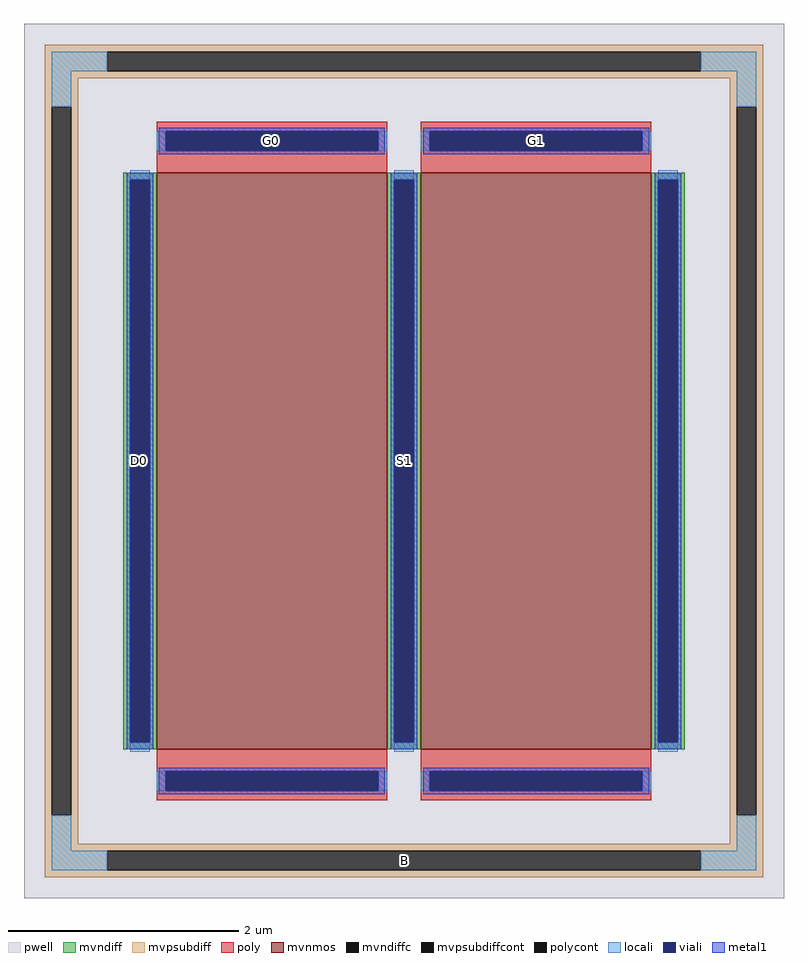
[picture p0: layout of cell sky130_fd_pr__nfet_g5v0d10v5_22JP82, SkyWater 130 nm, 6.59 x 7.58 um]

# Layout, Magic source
magic
tech sky130A
magscale 1 2
<< pwell >>
rect -659 -758 659 758
<< mvnmos >>
rect -429 -500 -29 500
rect 29 -500 429 500
<< mvndiff >>
rect -487 488 -429 500
rect -487 -488 -475 488
rect -441 -488 -429 488
rect -487 -500 -429 -488
rect -29 488 29 500
rect -29 -488 -17 488
rect 17 -488 29 488
rect -29 -500 29 -488
rect 429 488 487 500
rect 429 -488 441 488
rect 475 -488 487 488
rect 429 -500 487 -488
<< mvndiffc >>
rect -475 -488 -441 488
rect -17 -488 17 488
rect 441 -488 475 488
<< mvpsubdiff >>
rect -623 710 623 722
rect -623 676 -515 710
rect 515 676 623 710
rect -623 664 623 676
rect -623 614 -565 664
rect -623 -614 -611 614
rect -577 -614 -565 614
rect 565 614 623 664
rect -623 -664 -565 -614
rect 565 -614 577 614
rect 611 -614 623 614
rect 565 -664 623 -614
rect -623 -676 623 -664
rect -623 -710 -515 -676
rect 515 -710 623 -676
rect -623 -722 623 -710
<< mvpsubdiffcont >>
rect -515 676 515 710
rect -611 -614 -577 614
rect 577 -614 611 614
rect -515 -710 515 -676
<< poly >>
rect -429 572 -29 588
rect -429 538 -413 572
rect -45 538 -29 572
rect -429 500 -29 538
rect 29 572 429 588
rect 29 538 45 572
rect 413 538 429 572
rect 29 500 429 538
rect -429 -538 -29 -500
rect -429 -572 -413 -538
rect -45 -572 -29 -538
rect -429 -588 -29 -572
rect 29 -538 429 -500
rect 29 -572 45 -538
rect 413 -572 429 -538
rect 29 -588 429 -572
<< polycont >>
rect -413 538 -45 572
rect 45 538 413 572
rect -413 -572 -45 -538
rect 45 -572 413 -538
<< locali >>
rect -611 676 -515 710
rect 515 676 611 710
rect -611 614 -577 676
rect 577 614 611 676
rect -429 538 -413 572
rect -45 538 -29 572
rect 29 538 45 572
rect 413 538 429 572
rect -475 488 -441 504
rect -475 -504 -441 -488
rect -17 488 17 504
rect -17 -504 17 -488
rect 441 488 475 504
rect 441 -504 475 -488
rect -429 -572 -413 -538
rect -45 -572 -29 -538
rect 29 -572 45 -538
rect 413 -572 429 -538
rect -611 -676 -577 -614
rect 577 -676 611 -614
rect -611 -710 -515 -676
rect 515 -710 611 -676
<< viali >>
rect -413 538 -45 572
rect 45 538 413 572
rect -475 -488 -441 488
rect -17 -488 17 488
rect 441 -488 475 488
rect -413 -572 -45 -538
rect 45 -572 413 -538
<< metal1 >>
rect -425 572 -33 578
rect -425 538 -413 572
rect -45 538 -33 572
rect -425 532 -33 538
rect 33 572 425 578
rect 33 538 45 572
rect 413 538 425 572
rect 33 532 425 538
rect -481 488 -435 500
rect -481 -488 -475 488
rect -441 -488 -435 488
rect -481 -500 -435 -488
rect -23 488 23 500
rect -23 -488 -17 488
rect 17 -488 23 488
rect -23 -500 23 -488
rect 435 488 481 500
rect 435 -488 441 488
rect 475 -488 481 488
rect 435 -500 481 -488
rect -425 -538 -33 -532
rect -425 -572 -413 -538
rect -45 -572 -33 -538
rect -425 -578 -33 -572
rect 33 -538 425 -532
rect 33 -572 45 -538
rect 413 -572 425 -538
rect 33 -578 425 -572
<< labels >>
rlabel mvpsubdiffcont 0 -693 0 -693 0 B
port 1 nsew
rlabel mvndiffc -458 0 -458 0 0 D0
port 2 nsew
rlabel polycont -229 555 -229 555 0 G0
port 3 nsew
rlabel mvndiffc 0 0 0 0 0 S1
port 4 nsew
rlabel polycont 229 555 229 555 0 G1
port 5 nsew
<< properties >>
string FIXED_BBOX -594 -693 594 693
string gencell sky130_fd_pr__nfet_g5v0d10v5
string library sky130
string parameters w 5 l 2 m 1 nf 2 diffcov 100 polycov 100 guard 1 glc 1 grc 1 gtc 1 gbc 1 tbcov 100 rlcov 100 topc 1 botc 1 poverlap 0 doverlap 1 lmin 0.50 wmin 0.42 class mosfet compatible {sky130_fd_pr__nfet_01v8 sky130_fd_pr__nfet_01v8_lvt  sky130_fd_bs_flash__special_sonosfet_star  sky130_fd_pr__nfet_g5v0d10v5 sky130_fd_pr__nfet_05v0_nvt  sky130_fd_pr__nfet_03v3_nvt} full_metal 1 conn_gates 0 viasrc 100 viadrn 100 viagate 100 viagb 0 viagr 0 viagl 0 viagt 0 doports 1
<< end >>
